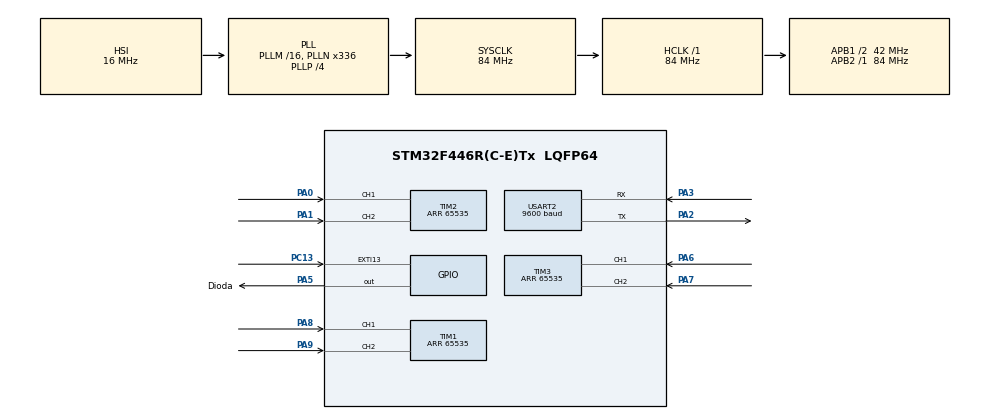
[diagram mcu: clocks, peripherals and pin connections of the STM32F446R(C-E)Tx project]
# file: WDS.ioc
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Dma.Request0=USART2_RX
Dma.Request1=USART2_TX
Dma.USART2_RX.0.Direction=DMA_PERIPH_TO_MEMORY
Dma.USART2_RX.0.FIFOMode=DMA_FIFOMODE_DISABLE
Dma.USART2_RX.0.Instance=DMA1_Stream5
Dma.USART2_RX.0.MemDataAlignment=DMA_MDATAALIGN_BYTE
Dma.USART2_RX.0.MemInc=DMA_MINC_ENABLE
Dma.USART2_RX.0.Mode=DMA_NORMAL
Dma.USART2_RX.0.PeriphDataAlignment=DMA_PDATAALIGN_BYTE
Dma.USART2_RX.0.PeriphInc=DMA_PINC_DISABLE
Dma.USART2_RX.0.Priority=DMA_PRIORITY_LOW
Dma.USART2_TX.1.Direction=DMA_MEMORY_TO_PERIPH
Dma.USART2_TX.1.FIFOMode=DMA_FIFOMODE_DISABLE
Dma.USART2_TX.1.Instance=DMA1_Stream6
Dma.USART2_TX.1.MemDataAlignment=DMA_MDATAALIGN_BYTE
Dma.USART2_TX.1.MemInc=DMA_MINC_ENABLE
Dma.USART2_TX.1.Mode=DMA_NORMAL
Dma.USART2_TX.1.PeriphDataAlignment=DMA_PDATAALIGN_BYTE
Dma.USART2_TX.1.PeriphInc=DMA_PINC_DISABLE
Dma.USART2_TX.1.Priority=DMA_PRIORITY_LOW
Mcu.Family=STM32F4
Mcu.Name=STM32F446R(C-E)Tx
Mcu.Package=LQFP64
NVIC.DMA1_Stream5_IRQn=true\:0\:0\:false\:false\:true\:false\:true
NVIC.DMA1_Stream6_IRQn=true\:0\:0\:false\:false\:true\:false\:true
NVIC.PriorityGroup=NVIC_PRIORITYGROUP_0
NVIC.TIM1_UP_TIM10_IRQn=true\:0\:0\:false\:false\:true\:true\:true
NVIC.USART2_IRQn=true\:0\:0\:false\:false\:true\:true\:true
PA0-WKUP.Signal=S_TIM2_CH1_ETR
PA1.Signal=S_TIM2_CH2
PA13.Mode=Serial_Wire
PA13.Signal=SYS_JTMS-SWDIO
PA14.Mode=Serial_Wire
PA14.Signal=SYS_JTCK-SWCLK
PA2.GPIO_ModeDefaultPP=GPIO_MODE_AF_PP
PA2.GPIO_PuPd=GPIO_NOPULL
PA2.GPIO_Speed=GPIO_SPEED_FREQ_VERY_HIGH
PA2.Mode=Asynchronous
PA2.Signal=USART2_TX
PA3.GPIO_ModeDefaultPP=GPIO_MODE_AF_PP
PA3.GPIO_PuPd=GPIO_NOPULL
PA3.GPIO_Speed=GPIO_SPEED_FREQ_VERY_HIGH
PA3.Mode=Asynchronous
PA3.Signal=USART2_RX
PA5.GPIO_Label=Dioda
PA5.GPIO_ModeDefaultOutputPP=GPIO_MODE_OUTPUT_PP
PA5.GPIO_PuPd=GPIO_NOPULL
PA5.GPIO_Speed=GPIO_SPEED_FREQ_LOW
PA5.PinState=GPIO_PIN_RESET
PA5.Signal=GPIO_Output
PA6.Signal=S_TIM3_CH1
PA7.Signal=S_TIM3_CH2
PA8.Signal=S_TIM1_CH1
PA9.Signal=S_TIM1_CH2
PB3.Signal=SYS_JTDO-SWO
PC13.GPIO_ModeDefaultEXTI=GPIO_MODE_IT_RISING
PC13.GPIO_PuPd=GPIO_NOPULL
PC13.Signal=GPXTI13
PC14-OSC32_IN.Mode=LSE-External-Oscillator
PC14-OSC32_IN.Signal=RCC_OSC32_IN
PC15-OSC32_OUT.Mode=LSE-External-Oscillator
PC15-OSC32_OUT.Signal=RCC_OSC32_OUT
PH0-OSC_IN.Mode=HSE-External-Oscillator
PH0-OSC_IN.Signal=RCC_OSC_IN
PH1-OSC_OUT.Mode=HSE-External-Oscillator
PH1-OSC_OUT.Signal=RCC_OSC_OUT
ProjectManager.HeapSize=0x200
ProjectManager.StackSize=0x400
ProjectManager.TargetToolchain=STM32CubeIDE
RCC.48MHZClocksFreq_Value=84000000
RCC.AHBFreq_Value=84000000
RCC.APB1CLKDivider=RCC_HCLK_DIV2
RCC.APB1Freq_Value=42000000
RCC.APB1TimFreq_Value=84000000
RCC.APB2Freq_Value=84000000
RCC.APB2TimFreq_Value=84000000
RCC.CortexFreq_Value=84000000
RCC.FLatency-AdvancedSettings=FLASH_LATENCY_2
RCC.HCLKFreq_Value=84000000
RCC.HSE_VALUE=8000000
RCC.HSI_VALUE=16000000
RCC.PLLN=336
RCC.PLLP=RCC_PLLP_DIV4
RCC.SYSCLKFreq_VALUE=84000000
RCC.SYSCLKSource=RCC_SYSCLKSOURCE_PLLCLK
RCC.USBFreq_Value=168000000
RCC.VCOOutputFreq_Value=336000000
SH.S_TIM1_CH1.0=TIM1_CH1,Encoder_Interface
SH.S_TIM1_CH2.0=TIM1_CH2,Encoder_Interface
SH.S_TIM2_CH1_ETR.0=TIM2_CH1,Encoder_Interface
SH.S_TIM2_CH2.0=TIM2_CH2,Encoder_Interface
SH.S_TIM3_CH1.0=TIM3_CH1,Encoder_Interface
SH.S_TIM3_CH2.0=TIM3_CH2,Encoder_Interface
TIM1.EncoderMode=TIM_ENCODERMODE_TI12
TIM1.Period=65535
TIM10.Period=8399
TIM10.Prescaler=9999
TIM2.EncoderMode=TIM_ENCODERMODE_TI12
TIM2.Period=65535
TIM3.EncoderMode=TIM_ENCODERMODE_TI12
TIM3.IC1Filter=15
TIM3.IC2Filter=15
TIM3.Period=65535
USART2.BaudRate=9600
USART2.Parity=PARITY_EVEN
USART2.VirtualMode=VM_ASYNC
USART2.WordLength=WORDLENGTH_9B
VP_TIM10_VS_ClockSourceINT.Mode=Enable_Timer
board=NUCLEO-F446RE

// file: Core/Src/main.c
/* USER CODE BEGIN Header */
/**
  ******************************************************************************
  * @file           : main.c
  * @brief          : Main program body
  ******************************************************************************
  * @attention
  *
  * <h2><center>&copy; Copyright (c) 2020 STMicroelectronics.
  * All rights reserved.</center></h2>
  *
  * This software component is licensed by ST under BSD 3-Clause license,
  * the "License"; You may not use this file except in compliance with the
  * License. You may obtain a copy of the License at:
  *                        opensource.org/licenses/BSD-3-Clause
  *
  ******************************************************************************
  */
/* USER CODE END Header */

#include "main.h"
#include "dma.h"
#include "tim.h"
#include "usart.h"
#include "gpio.h"

/* USER CODE BEGIN Includes */
#include <stdio.h>
#include <stdlib.h>
/* USER CODE END Includes */

/* USER CODE BEGIN PD */
typedef unsigned char byte;

#define WIDTH  (8 * sizeof(byte))

#define POLYNOMIAL 0x07
/* USER CODE END PD */

/* USER CODE BEGIN PV */
  uint8_t Received[17];
  int q1=0, q2=0, q3=0;

  volatile uint16_t pulse_count; // Licznik impulsow
  volatile uint16_t positions; // Licznik przekreconych pozycji
/* USER CODE END PV */

void SystemClock_Config(void);

/* USER CODE BEGIN 0 */
byte CRC8(uint8_t const message[], int nBytes)
{
    byte  remainder = 0;
    for (int byte = 0; byte < nBytes; ++byte)
    {
        remainder ^= message[byte];
        for (uint8_t bit = 8; bit > 0; --bit)
        {
            if ((remainder & 0x80) != 0)
            {
                remainder = (remainder << 1) ^ POLYNOMIAL;
            }
            else
            {
                remainder = (remainder << 1);
            }
        }
    }
    return (remainder);

}

void HAL_TIM_PeriodElapsedCallback(TIM_HandleTypeDef *htim) {
	uint8_t tmp[12];
	uint8_t msg[16];
	uint16_t size = 0;

	uint16_t stmp = sprintf(tmp, "Q%03d %03d %03d", q1, q2, q3);

	byte crc = CRC8(tmp, stmp);

	size = sprintf(msg, "Q%03d %03d %03d %02x\r\n", q1, q2, q3, crc);
	HAL_UART_Transmit(&huart2, msg, size, 50);
	HAL_GPIO_TogglePin(Dioda_GPIO_Port, Dioda_Pin);
}

void HAL_UART_RxCpltCallback(UART_HandleTypeDef *huart) {

	uint8_t Data[17]; // Tablica przechowujaca wysylana wiadomosc.
	uint16_t size = 0; // Rozmiar wysylanej wiadomosci
	char *tmp;
	char crcc[2];

	size = sprintf(Data, "%s", Received);

	if(Data[0] == 'Z' && Data[15] == '\r' && Data[16] == '\n')
	{
		byte crc = CRC8(Data, 12);
		sprintf(crcc, "%02x", crc);

		if(Data[13] == crcc[0] && Data[14] == crcc[1])
		{
			tmp = strtok(Data, " ");
			tmp = tmp+1;
			q1 = atoi(tmp);
			tmp = strtok(NULL, " ");
			q2 = atoi(tmp);
			tmp = strtok(NULL, " ");
			q3 = atoi(tmp);
		}
	}

	HAL_UART_Receive_IT(&huart2, &Received, 17);
	HAL_GPIO_TogglePin(Dioda_GPIO_Port, Dioda_Pin);
}
/* USER CODE END 0 */

int main(void)
{

  /* MCU Configuration--------------------------------------------------------*/

  /* Reset of all peripherals, Initializes the Flash interface and the Systick. */
  HAL_Init();

  /* Configure the system clock */
  SystemClock_Config();

  /* Initialize all configured peripherals */
  MX_GPIO_Init();
  MX_DMA_Init();
  MX_USART2_UART_Init();
  MX_TIM10_Init();
  MX_TIM1_Init();
  MX_TIM3_Init();
  MX_TIM2_Init();
  /* USER CODE BEGIN 2 */

  HAL_TIM_Base_Start_IT(&htim10);
  HAL_UART_Receive_IT(&huart2, &Received, 17);
  HAL_TIM_Encoder_Start(&htim3, TIM_CHANNEL_ALL);
  HAL_TIM_Encoder_Start(&htim2, TIM_CHANNEL_ALL);
  HAL_TIM_Encoder_Start(&htim1, TIM_CHANNEL_ALL);

  htim3.Instance->CNT = 0x0060;
  htim2.Instance->CNT = 0x0060;
  htim1.Instance->CNT = 0x0060;

  int angle=0;

  /* USER CODE END 2 */

  /* Infinite loop */
  /* USER CODE BEGIN WHILE */
  while (1)
  {
	  pulse_count = htim3.Instance->CNT; // przepisanie wartosci z rejestru timera
	  positions = pulse_count/4; // zeskalowanie impulsow do liczby stabilnych pozycji walu enkodera

	  angle = (float)360/24 * positions;
	  q3 = angle - 360;

	  pulse_count = htim2.Instance->CNT;
	  positions = pulse_count/4;

	  angle = (float)360/24 * positions;
	  q2 = angle - 360;

	  pulse_count = htim1.Instance->CNT;
	  positions = pulse_count/4;

	  angle = (float)360/24 * positions;
	  q1 = angle - 360;

	  HAL_Delay(0.5);
    /* USER CODE END WHILE */

  }
}

void SystemClock_Config(void)
{
  RCC_OscInitTypeDef RCC_OscInitStruct = {0};
  RCC_ClkInitTypeDef RCC_ClkInitStruct = {0};

  /** Configure the main internal regulator output voltage
  */
  __HAL_RCC_PWR_CLK_ENABLE();
  __HAL_PWR_VOLTAGESCALING_CONFIG(PWR_REGULATOR_VOLTAGE_SCALE3);
  /** Initializes the CPU, AHB and APB busses clocks
  */
  RCC_OscInitStruct.OscillatorType = RCC_OSCILLATORTYPE_HSI;
  RCC_OscInitStruct.HSIState = RCC_HSI_ON;
  RCC_OscInitStruct.HSICalibrationValue = RCC_HSICALIBRATION_DEFAULT;
  RCC_OscInitStruct.PLL.PLLState = RCC_PLL_ON;
  RCC_OscInitStruct.PLL.PLLSource = RCC_PLLSOURCE_HSI;
  RCC_OscInitStruct.PLL.PLLM = 16;
  RCC_OscInitStruct.PLL.PLLN = 336;
  RCC_OscInitStruct.PLL.PLLP = RCC_PLLP_DIV4;
  RCC_OscInitStruct.PLL.PLLQ = 2;
  RCC_OscInitStruct.PLL.PLLR = 2;
  if (HAL_RCC_OscConfig(&RCC_OscInitStruct) != HAL_OK)
  {
    Error_Handler();
  }
  /** Initializes the CPU, AHB and APB busses clocks
  */
  RCC_ClkInitStruct.ClockType = RCC_CLOCKTYPE_HCLK|RCC_CLOCKTYPE_SYSCLK
                              |RCC_CLOCKTYPE_PCLK1|RCC_CLOCKTYPE_PCLK2;
  RCC_ClkInitStruct.SYSCLKSource = RCC_SYSCLKSOURCE_PLLCLK;
  RCC_ClkInitStruct.AHBCLKDivider = RCC_SYSCLK_DIV1;
  RCC_ClkInitStruct.APB1CLKDivider = RCC_HCLK_DIV2;
  RCC_ClkInitStruct.APB2CLKDivider = RCC_HCLK_DIV1;

  if (HAL_RCC_ClockConfig(&RCC_ClkInitStruct, FLASH_LATENCY_2) != HAL_OK)
  {
    Error_Handler();
  }
}

void Error_Handler(void)
{
}

/************************ (C) COPYRIGHT STMicroelectronics *****END OF FILE****/
